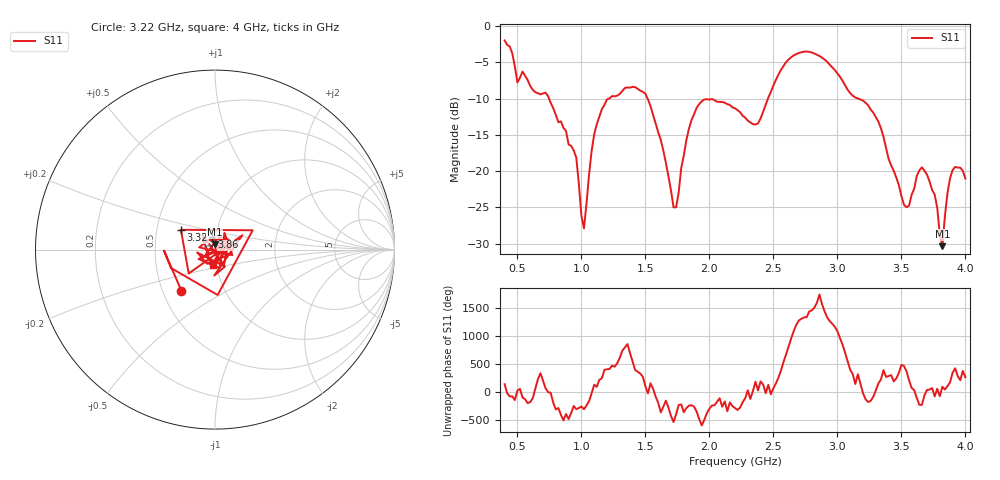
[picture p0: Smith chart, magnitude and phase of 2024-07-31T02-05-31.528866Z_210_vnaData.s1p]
!Created with skrf (http://scikit-rf.org).
# Hz S RI R 50.0
!freq ReS11 ImS11
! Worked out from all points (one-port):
!   181 points, 400 MHz to 4 GHz, reference 50 ohm
!   lowest |S11| = -30.3 dB at 3.82 GHz (marker M1), VSWR 1.06, Z = 49.8 + j3.03 ohm
!   |S11| at or under -10 dB: 747.1 MHz to 1.217 GHz (469.5 MHz wide, 47.8 % of centre); 1.517 GHz to 2.457 GHz (940.2 MHz wide, 47.3 % of centre); 3.163 GHz to end of sweep
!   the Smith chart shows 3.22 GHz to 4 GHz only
!   S11 on the Smith chart (normalised r, x): 3.22 GHz: 0.62, -0.31; 3.32 GHz: 0.67, +0.15; 3.86 GHz: 0.96, +0.13; 4 GHz: 0.96, -0.17
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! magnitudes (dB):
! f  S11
! 400 MHz  -2.0
! 500 MHz  -7.8
! 720 MHz  -9.2
! 860 MHz  -14.0
! 960 MHz  -18.1
! 1.02 GHz  -27.9
! 1.12 GHz  -13.5
! 1.3 GHz  -9.4
! 1.5 GHz  -9.3
! 1.62 GHz  -15.7
! 1.72 GHz  -25.0
! 1.76 GHz  -22.9
! 1.82 GHz  -15.7
! 1.9 GHz  -11.3
! 2.2 GHz  -11.3
! 2.38 GHz  -13.4
! 2.66 GHz  -4.0
! 2.88 GHz  -4.4
! 3.1 GHz  -9.3
! 3.22 GHz  -10.6
! 3.32 GHz  -13.2
! 3.56 GHz  -24.8
! 3.66 GHz  -19.5
! 3.76 GHz  -23.2
! 3.82 GHz  -30.3
! 3.86 GHz  -23.0
! 3.92 GHz  -19.4
! 4 GHz  -21.0
